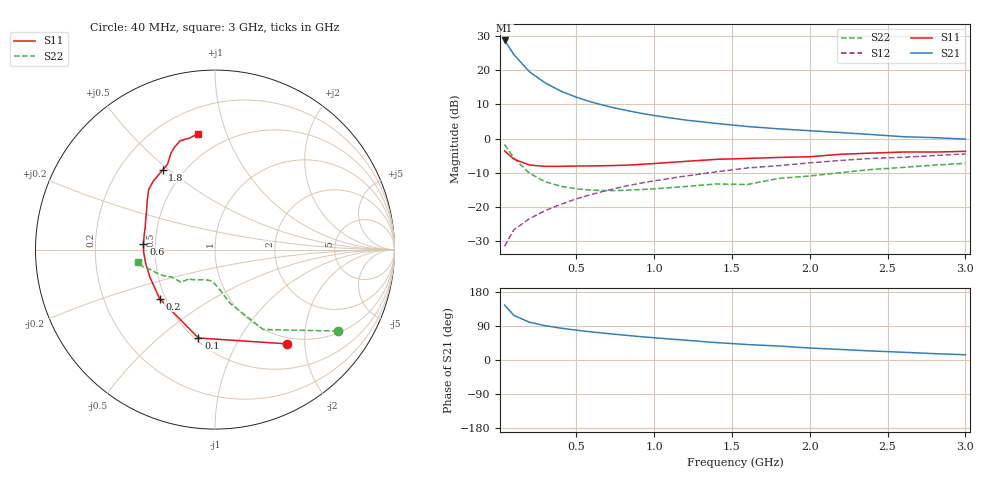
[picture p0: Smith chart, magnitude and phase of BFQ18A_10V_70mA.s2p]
! Filename:  BFQ18AD.S2P  Version:  2.0
! Philips part #: BFQ18A  Date: May 1990
! Bias condition: Vce=10V, Ic=70mA
#  MHz  S  MA  R  50
! Freq  S11  S21  S12  S22  !GUM [dB]
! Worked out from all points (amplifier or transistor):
!   21 points, 40 MHz to 3 GHz, reference 50 ohm
!   highest |S21| = 28.6 dB at 40 MHz (marker M1)
!   |S21| within 3 dB of that: start of sweep to 83.38 MHz
!   unconditionally stable (mu >= 1): 565 MHz to 1.042 GHz
!   at 300 MHz: K = 0.90, MSG = 18.6 dB, |S12| = -21.0 dB
!   at 1 GHz: K = 1.00, MAG = 9.1 dB, |S12| = -12.3 dB
!   at 3 GHz: K = 0.87, MSG = 2.2 dB, |S12| = -4.5 dB
!   S11 on the Smith chart (normalised r, x): 40 MHz: 0.89, -1.66; 100 MHz: 0.52, -0.69; 200 MHz: 0.46, -0.31; 600 MHz: 0.43, +0.03; 1.8 GHz: 0.39, +0.48; 3 GHz: 0.36, +0.80
40  0.662 -52.5  26.99 145.0  0.027 66.2  0.82 -33.6
100  0.501 -100.6  16.74 117.6  0.047 57.3  0.52 -58.9
200  0.412 -138.5  9.406 99.6  0.068 58.4  0.312 -74.2
300  0.394 -157.1  6.497 90.6  0.089 62.5  0.235 -81.8
400  0.394 -169.1  4.94 84.1  0.11 64.9  0.202 -87.6
500  0.398 -178.2  4.02 78.8  0.132 66.1  0.185 -92.2
600  0.4 175.3  3.402 74.0  0.154 66.9  0.177 -96.7
700  0.403 168.3  2.961 69.9  0.176 66.8  0.174 -101.2
800  0.408 162.3  2.639 65.9  0.199 66.6  0.176 -105.3
900  0.419 157.4  2.38 62.1  0.221 65.9  0.18 -110.4
1000  0.433 152.0  2.171 58.7  0.242 65.5  0.185 -114.4
1200  0.465 144.3  1.867 52.3  0.284 64.2  0.2 -122.6
1400  0.498 138.0  1.666 45.9  0.328 62.0  0.218 -130.6
1600  0.514 131.9  1.5 40.8  0.373 59.8  0.214 -130.9
1800  0.531 123.3  1.389 36.9  0.403 58.7  0.263 -136.3
2000  0.544 119.1  1.304 31.6  0.443 56.0  0.285 -147.5
2200  0.591 114.5  1.224 27.8  0.48 53.7  0.319 -152.7
2400  0.615 111.4  1.145 23.8  0.515 50.9  0.355 -159.0
2600  0.637 107.7  1.066 20.4  0.534 48.2  0.38 -163.4
2800  0.637 102.9  1.032 16.8  0.566 46.4  0.411 -166.4
3000  0.652 98.5  0.984 13.8  0.598 43.3  0.436 -171.0
